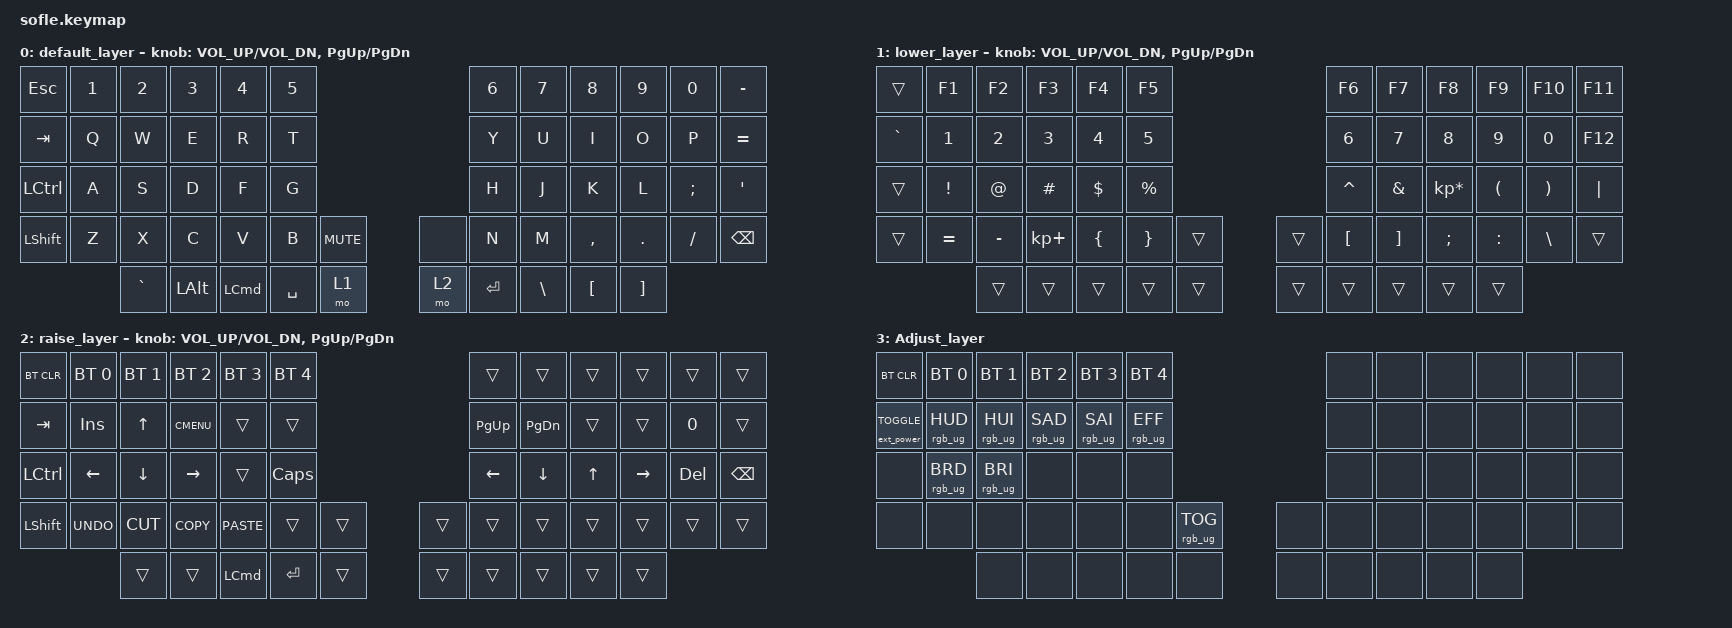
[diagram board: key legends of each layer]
/*
 * Copyright (c) 2020 The ZMK Contributors
 *
 * SPDX-License-Identifier: MIT
 */

#include <behaviors.dtsi>
#include <dt-bindings/zmk/bt.h>
#include <dt-bindings/zmk/ext_power.h>
#include <dt-bindings/zmk/keys.h>
#include <dt-bindings/zmk/rgb.h>

#define BASE 0
#define LOWER 1
#define RAISE 2
#define ADJUST 3

/ {
    // Activate ADJUST layer by pressing raise and lower

    conditional_layers {
        compatible = "zmk,conditional-layers";

        adjust_layer {
            if-layers = <LOWER RAISE>;
            then-layer = <ADJUST>;
        };
    };

    keymap {
        compatible = "zmk,keymap";

        default_layer {
            // ------------------------------------------------------------------------------------------------------------
            // |  `    |  1  |  2  |  3   |  4   |  5   |                   |  6   |  7    |  8    |  9   |   0   |       |
            // |  ESC  |  Q  |  W  |  E   |  R   |  T   |                   |  Y   |  U    |  I    |  O   |   P   | BKSPC |
            // |  TAB  |  A  |  S  |  D   |  F   |  G   |                   |  H   |  J    |  K    |  L   |   ;   |   '   |
            // | SHIFT |  Z  |  X  |  C   |  V   |  B   |  MUTE  |  |       |  N   |  M    |  ,    |  .   |   /   | SHIFT |
            //               | GUI | ALT  | CTRL | LOWER|  ENTER |  | SPACE | RAISE| CTRL  | ALT   | GUI  |

            bindings = <
&kp ESCAPE  &kp N1     &kp N2    &kp N3            &kp N4     &kp N5                        &kp N6         &kp N7            &kp N8             &kp N9    &kp N0      &kp MINUS
   &kp TAB   &kp Q      &kp W     &kp E             &kp R      &kp T                         &kp Y          &kp U             &kp I              &kp O     &kp P      &kp EQUAL
 &kp LCTRL   &kp A      &kp S     &kp D             &kp F      &kp G                         &kp H          &kp J             &kp K              &kp L  &kp SEMI        &kp SQT
 &kp LSHFT   &kp Z      &kp X     &kp C             &kp V      &kp B  &kp C_MUTE  &none      &kp N          &kp M         &kp COMMA            &kp DOT  &kp FSLH  &kp BACKSPACE
                    &kp GRAVE  &kp LALT  &kp LEFT_COMMAND  &kp SPACE       &mo 1  &mo 2  &kp ENTER  &kp BACKSLASH  &kp LEFT_BRACKET  &kp RIGHT_BRACKET
            >;

            sensor-bindings = <&inc_dec_kp C_VOL_UP C_VOL_DN &inc_dec_kp PAGE_UP PG_DN>;
        };

        lower_layer {
            // TODO: Some binds are waiting for shifted keycode support.
            // ------------------------------------------------------------------------------------------------------------
            // |       |  F1 |  F2 |  F3  |  F4  |  F5  |                   |  F6  |  F7   |  F8   |  F9  |  F10  |  F11  |
            // | `     |   1 |   2 |   3  |   4  |   5  |                   |   6  |   7   |   8   |   9  |    0  |  F12  |
            // |       |  !  |  @  |  #   |  $   |  %   |                   |  ^   |  &    |  *    |  (   |   )   |   |   |
            // |       |  =  |  -  |  +   |  {   |  }   |        |  |       |  [   |  ]    |  ;    |  :   |   \   |       |
            //               |     |      |      |      |        |  |       |      |       |       |      |

            bindings = <
   &trans     &kp F1     &kp F2       &kp F3    &kp F4     &kp F5                     &kp F6    &kp F7           &kp F8     &kp F9   &kp F10   &kp F11
&kp GRAVE     &kp N1     &kp N2       &kp N3    &kp N4     &kp N5                     &kp N6    &kp N7           &kp N8     &kp N9    &kp N0   &kp F12
   &trans   &kp EXCL     &kp AT     &kp HASH  &kp DLLR  &kp PRCNT                  &kp CARET  &kp AMPS  &kp KP_MULTIPLY   &kp LPAR  &kp RPAR  &kp PIPE
   &trans  &kp EQUAL  &kp MINUS  &kp KP_PLUS  &kp LBRC   &kp RBRC  &trans  &trans   &kp LBKT  &kp RBKT         &kp SEMI  &kp COLON  &kp BSLH    &trans
                         &trans       &trans    &trans     &trans  &trans  &trans     &trans    &trans           &trans     &trans
            >;

            sensor-bindings = <&inc_dec_kp C_VOL_UP C_VOL_DN &inc_dec_kp PG_UP PG_DN>;
        };

        raise_layer {
            // ------------------------------------------------------------------------------------------------------------
            // |BTCLR| BT1  | BT2  |  BT3  |  BT4  |  BT5 |                |      |      |       |      |       |       |
            // |     | INS  | PSCR | GUI   |       |      |                | PGUP |      |   ^   |      |       |       |
            // |     | ALT  | CTRL | SHIFT |       | CAPS |                | PGDN |   <- |   v   |  ->  |  DEL  | BKSPC |
            // |     | UNDO | CUT  | COPY  | PASTE |      |      |  |      |      |      |       |      |       |       |
            //              |      |       |       |      |      |  |      |      |      |       |      |

            bindings = <
    &bt BT_CLR    &bt BT_SEL 0  &bt BT_SEL 1  &bt BT_SEL 2      &bt BT_SEL 3  &bt BT_SEL 4                          &trans         &trans        &trans     &trans   &trans    &trans
       &kp TAB         &kp INS  &kp UP_ARROW   &kp K_CMENU            &trans        &trans                       &kp PG_UP  &kp PAGE_DOWN        &trans     &trans   &kp N0    &trans
     &kp LCTRL  &kp LEFT_ARROW      &kp DOWN     &kp RIGHT            &trans      &kp CLCK                  &kp LEFT_ARROW       &kp DOWN  &kp UP_ARROW  &kp RIGHT  &kp DEL  &kp BSPC
&kp LEFT_SHIFT      &kp K_UNDO     &kp K_CUT    &kp K_COPY       &kp K_PASTE        &trans  &trans  &trans          &trans         &trans        &trans     &trans   &trans    &trans
                                      &trans        &trans  &kp LEFT_COMMAND     &kp ENTER  &trans  &trans          &trans         &trans        &trans     &trans
            >;

            sensor-bindings = <&inc_dec_kp C_VOL_UP C_VOL_DN &inc_dec_kp PG_UP PG_DN>;
        };

        // ------------------------------------------------------------------------------------------------------------
        // |BTCLR | BT1   | BT2   |  BT3  |  BT4  |  BT5  |                |      |      |       |      |       |       |
        // |EXTPWR|RGB_HUD|RGB_HUI|RGB_SAD|RGB_SAI|RGB_EFF|                |      |      |       |      |       |       |
        // |      |RGB_BRD|RGB_BRI|       |       |       |                |      |      |       |      |       |       |
        // |      |       |       |       |       |       |RGB_TOG| |      |      |      |       |      |       |       |
        //                |       |       |       |       |       | |      |      |      |       |      |

        Adjust_layer {
            bindings = <
                     &bt BT_CLR     &bt BT_SEL 0     &bt BT_SEL 1     &bt BT_SEL 2     &bt BT_SEL 3     &bt BT_SEL 4                          &none  &none  &none  &none  &none  &none
&ext_power EXT_POWER_TOGGLE_CMD  &rgb_ug RGB_HUD  &rgb_ug RGB_HUI  &rgb_ug RGB_SAD  &rgb_ug RGB_SAI  &rgb_ug RGB_EFF                          &none  &none  &none  &none  &none  &none
                          &none  &rgb_ug RGB_BRD  &rgb_ug RGB_BRI            &none            &none            &none                          &none  &none  &none  &none  &none  &none
                          &none            &none            &none            &none            &none            &none  &rgb_ug RGB_TOG  &none  &none  &none  &none  &none  &none  &none
                                                            &none            &none            &none            &none            &none  &none  &none  &none  &none  &none
            >;
        };
    };
};
